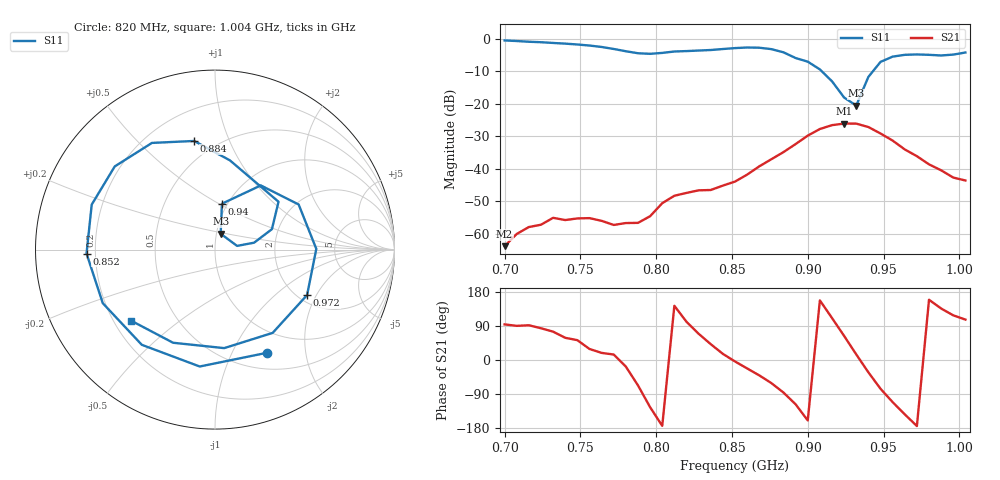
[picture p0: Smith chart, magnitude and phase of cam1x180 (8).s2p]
# Hz S RI R 50
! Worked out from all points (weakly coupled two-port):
!   39 points, 700 MHz to 1.004 GHz, reference 50 ohm
!   highest |S21| = -26.09 dB at 924 MHz (marker M1); lowest = -63.7 dB at 700 MHz (marker M2)
!   lowest |S11| = -20.6 dB at 932 MHz (marker M3), VSWR 1.21, Z = 52.4 + j9.34 ohm
!   |S11| at or under -10 dB: 909.2 MHz to 943 MHz (33.83 MHz wide, 3.65 % of centre)
!   S12 and S22 are empty: the file has one direction only
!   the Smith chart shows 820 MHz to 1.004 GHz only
!   S11 on the Smith chart (normalised r, x): 820 MHz: 0.70, -1.38; 852 MHz: 0.17, -0.01; 884 MHz: 0.38, +0.75; 940 MHz: 0.94, +0.52; 972 MHz: 2.23, -1.68; 1.004 GHz: 0.27, -0.34
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7e8  0.7572 0.5539  -4.47e-05 0.000648  0 0  0 0
7.24e8  0.8474 -0.2426  0.00015 0.00138  0 0  0 0
7.4e8  0.4582 -0.7019  0.000852 0.0014  0 0  0 0
7.56e8  -0.1903 -0.7601  0.00153 0.000852  0 0  0 0
7.72e8  -0.6638 -0.2044  0.00133 0.000343  0 0  0 0
7.8e8  -0.6015 0.2201  0.0014 -0.000442  0 0  0 0
7.96e8  0.227 0.5387  -0.00106 -0.00154  0 0  0 0
8.04e8  0.5723 0.1936  -0.00295 -0.000323  0 0  0 0
8.2e8  0.2919 -0.5744  -0.000804 0.0042  0 0  0 0
8.36e8  -0.4079 -0.5305  0.00353 0.00315  0 0  0 0
8.52e8  -0.7157 -0.022  0.00636 -0.000429  0 0  0 0
8.68e8  -0.5585 0.4635  0.0083 -0.0071  0 0  0 0
8.84e8  -0.1163 0.6053  0.00128 -0.0181  0 0  0 0
9e8  0.3539 0.2667  -0.0303 -0.0114  0 0  0 0
9.08e8  0.3171 0.1138  -0.0378 0.0158  0 0  0 0
9.24e8  0.1229 0.0206  0.0222 0.0444  0 0  0 0
9.32e8  0.0316 0.0883  0.0479 0.0126  0 0  0 0
9.4e8  0.0387 0.2557  0.037 -0.0236  0 0  0 0
9.56e8  0.4661 0.2513  -0.00983 -0.0253  0 0  0 0
9.72e8  0.5131 -0.2531  -0.0156 -0.00155  0 0  0 0
9.88e8  0.0513 -0.5489  -0.00682 0.00661  0 0  0 0
1.004e9  -0.4671 -0.3961  -0.0019 0.00635  0 0  0 0
